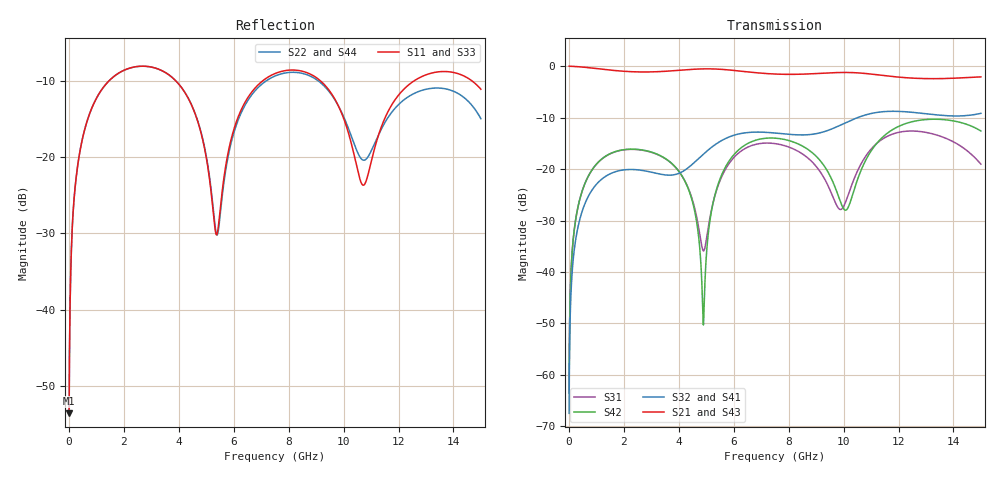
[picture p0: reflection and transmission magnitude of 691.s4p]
! Created with skrf 1.8.0 (http://scikit-rf.org).
# GHz S RI R 50.0
!freq ReS11 ImS11 ReS12 ImS12 ReS13 ImS13
! ReS14 ImS14
! ReS21 ImS21 ReS22 ImS22 ReS23 ImS23
! ReS24 ImS24
! ReS31 ImS31 ReS32 ImS32 ReS33 ImS33
! ReS34 ImS34
! ReS41 ImS41 ReS42 ImS42 ReS43 ImS43
! ReS44 ImS44
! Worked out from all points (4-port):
!   2499 points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, 5 MHz to 15 GHz, reference 50 ohm
!   strongest paths, dB at 5 MHz, 3.476 GHz, 7.19 GHz, 11.1 GHz, 15 GHz:
!     S21: 0.0, -1.0, -1.4, -1.6, -2.1
!     S43: 0.0, -1.0, -1.5, -1.6, -2.1
!     S32: -67.5, -21.1, -12.9, -9.1, -9.2
!     S41: -67.5, -21.1, -12.9, -9.1, -9.2
!     S42: -63.5, -17.8, -14.0, -15.7, -12.6
!     S31: -63.5, -17.9, -15.0, -15.6, -19.0
!   lowest |S11| = -53.6 dB at 5 MHz (marker M1), VSWR 1.00, Z = 50.2 + j0.127 ohm
!   |S11| at or under -10 dB: start of sweep to 1.464 GHz; 3.884 GHz to 7.063 GHz (3.179 GHz wide, 58.1 % of centre); 9.149 GHz to 12.58 GHz (3.429 GHz wide, 31.6 % of centre) (the widest 3 of 4)
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0.005  0.00167 0.00127  0.9983 -0.00325  8.39e-05 0.000664  -8.15e-05 -0.000416
       0.9983 -0.00325  0.00167 0.00127  -8.15e-05 -0.000416  8.39e-05 0.000664
       8.39e-05 0.000664  -8.15e-05 -0.000416  0.00167 0.00127  0.9983 -0.00325
       -8.15e-05 -0.000416  8.39e-05 0.000664  0.9983 -0.00325  0.00167 0.00127
0.3126303  0.0247 0.0832  0.9662 -0.2018  0.0114 0.0394  -0.0095 -0.0244
           0.9662 -0.2018  0.0247 0.0832  -0.0095 -0.0244  0.0115 0.0394
           0.0114 0.0394  -0.0095 -0.0244  0.0247 0.0832  0.9662 -0.2018
           -0.0095 -0.0244  0.0115 0.0394  0.9662 -0.2018  0.0247 0.0832
1.519383  0.2693 0.1789  0.5521 -0.728  0.1268 0.0627  -0.0902 -0.00675
          0.5521 -0.728  0.2688 0.1793  -0.0902 -0.00673  0.1281 0.061
          0.1268 0.0627  -0.0902 -0.00673  0.2693 0.1789  0.5521 -0.728
          -0.0902 -0.00675  0.1281 0.061  0.5521 -0.728  0.2688 0.1793
4.89579  0.0599 -0.1081  -0.8765 -0.3386  -0.0156 -0.00388  -0.0464 0.1317
         -0.8765 -0.3386  0.0612 -0.1095  -0.0462 0.1317  -0.00305 -0.000172
         -0.0156 -0.00388  -0.0462 0.1317  0.0599 -0.1087  -0.8764 -0.3386
         -0.0464 0.1317  -0.00305 -0.000172  -0.8764 -0.3386  0.0616 -0.11
8.372238  0.3649 -0.0508  0.0143 0.833  0.1326 -0.0641  0.204 -0.0648
          0.0143 0.833  0.3553 -0.0294  0.2044 -0.0657  0.1368 -0.1077
          0.1326 -0.0641  0.2044 -0.0657  0.3664 -0.0485  0.015 0.8324
          0.204 -0.0648  0.1368 -0.1077  0.015 0.8324  0.3566 -0.0326
11.05461  0.0849 0.0547  0.8337 -0.0138  0.015 0.1612  -0.0256 -0.3488
          0.8337 -0.0138  0.1092 0.0342  -0.0276 -0.3475  0.0636 0.1438
          0.015 0.1612  -0.0276 -0.3475  0.0918 0.0506  0.8339 -0.0146
          -0.0256 -0.3488  0.0636 0.1438  0.8339 -0.0146  0.1025 0.0312
15  0.1945 -0.1984  -0.4247 -0.6609  0.1085 -0.027  -0.2694 0.2199
    -0.4247 -0.6609  0.1558 -0.0862  -0.2687 0.2205  0.00878 -0.234
    0.1085 -0.027  -0.2687 0.2205  0.1928 -0.2007  -0.4283 -0.6584
    -0.2694 0.2199  0.00878 -0.234  -0.4283 -0.6584  0.1552 -0.086
